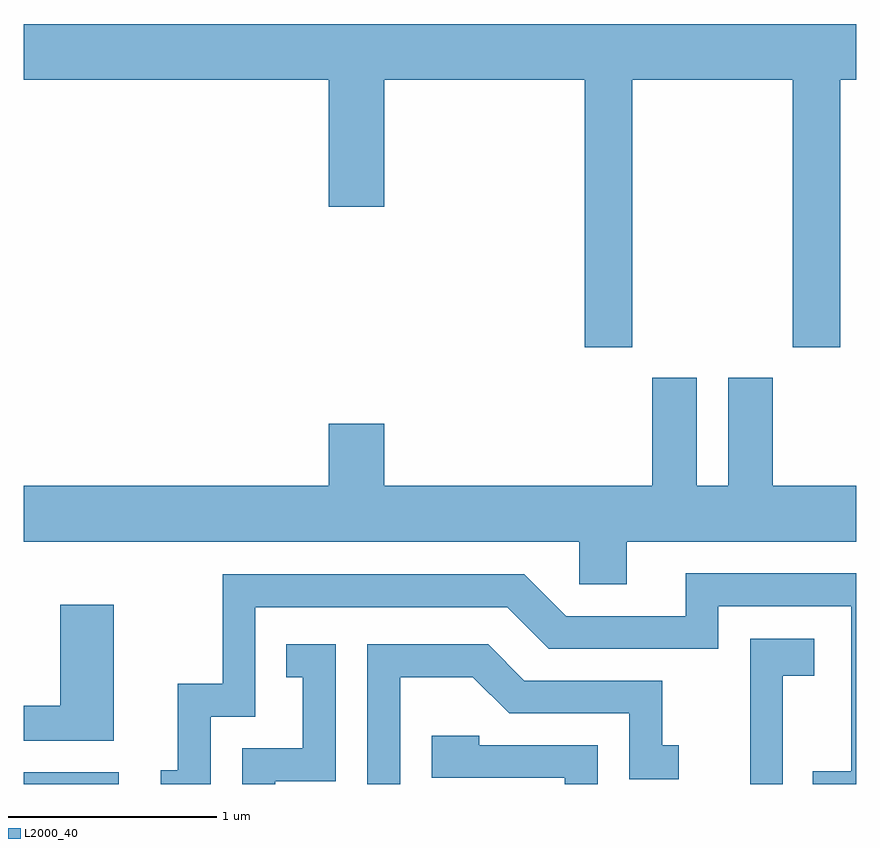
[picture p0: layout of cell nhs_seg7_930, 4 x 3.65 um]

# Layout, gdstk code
import gdstk
lib = gdstk.Library(unit=1e-6, precision=1e-09)
def R(c, l, rs):  # rectangles x0, y0, x1, y1
    for r in rs: c.add(gdstk.rectangle(r[:2], r[2:], *l))
def P(c, l, *ps):  # polygons
    for p in ps: c.add(gdstk.Polygon(p, *l))
L2000_40 = (2000, 40)

nhs_seg7_930 = lib.new_cell('nhs_seg7_930')
R(nhs_seg7_930, L2000_40, [(213.611,1724.252,214.068,1724.309)])
P(nhs_seg7_930, L2000_40, [(216.534,1727.636),(217.306,1727.636),(217.306,1726.351),(217.534,1726.351),(217.534,1727.636),(217.611,1727.636),(217.611,1727.904),(213.611,1727.904),(213.611,1727.636),(215.076,1727.636),(215.076,1727.026),(215.344,1727.026),(215.344,1727.636),(216.306,1727.636),(216.306,1726.351),(216.534,1726.351)],
  [(216.509,1725.416),(217.611,1725.416),(217.611,1725.684),(217.209,1725.684),(217.209,1726.204),(216.996,1726.204),(216.996,1725.684),(216.844,1725.684),(216.844,1726.204),(216.631,1726.204),(216.631,1725.684),(215.344,1725.684),(215.344,1725.984),(215.076,1725.984),(215.076,1725.684),(213.611,1725.684),(213.611,1725.416),(216.281,1725.416),(216.281,1725.211),(216.509,1725.211)],
  [(214.509,1724.576),(214.724,1724.576),(214.724,1725.101),(215.934,1725.101),(216.134,1724.901),(216.949,1724.901),(216.949,1725.106),(217.586,1725.106),(217.586,1724.314),(217.403,1724.314),(217.403,1724.252),(217.611,1724.252),(217.611,1725.264),(216.791,1725.264),(216.791,1725.059),(216.217,1725.059),(216.017,1725.259),(214.566,1725.259),(214.566,1724.734),(214.351,1724.734),(214.351,1724.319),(214.268,1724.319),(214.268,1724.252),(214.509,1724.252)],
  [(214.044,1725.114),(213.786,1725.114),(213.786,1724.629),(213.611,1724.629),(213.611,1724.461),(214.044,1724.461)],
  [(217.259,1724.771),(217.409,1724.771),(217.409,1724.949),(217.101,1724.949),(217.101,1724.252),(217.259,1724.252)],
  [(214.819,1724.266),(215.109,1724.266),(215.109,1724.924),(214.873,1724.924),(214.873,1724.766),(214.951,1724.766),(214.951,1724.424),(214.661,1724.424),(214.661,1724.252),(214.819,1724.252)],
  [(215.419,1724.766),(215.769,1724.766),(215.944,1724.591),(216.521,1724.591),(216.521,1724.276),(216.758,1724.276),(216.758,1724.439),(216.679,1724.439),(216.679,1724.749),(216.017,1724.749),(215.842,1724.924),(215.261,1724.924),(215.261,1724.252),(215.419,1724.252)],
  [(216.369,1724.439),(215.799,1724.439),(215.799,1724.484),(215.571,1724.484),(215.571,1724.281),(216.211,1724.281),(216.211,1724.252),(216.369,1724.252)])

lib.write_gds('nhs_seg7_930.gds')
